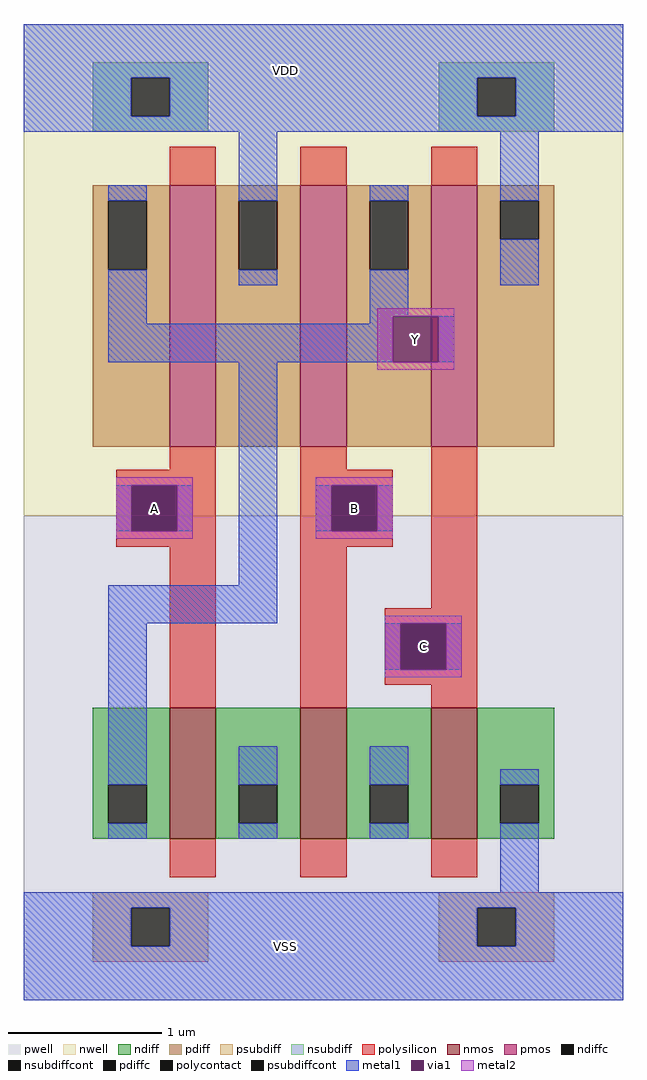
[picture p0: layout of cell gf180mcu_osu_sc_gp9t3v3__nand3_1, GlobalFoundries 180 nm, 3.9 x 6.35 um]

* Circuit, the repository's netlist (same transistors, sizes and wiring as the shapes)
** sch_path: /foss/designs/work/9tnand3/gf180mcu_osu_sc_gp9t3v3__nand3_1.sch
.subckt gf180mcu_osu_sc_gp9t3v3__nand3_1 A B Y C VDD VSS
*.PININFO A:I B:I Y:O C:I VDD:B VSS:B
X1 Y A VDD VDD pfet_03v3 w=1.7u l=0.3u m=1
X0 Y B VDD VDD pfet_03v3 w=1.7u l=0.3u m=1
X2 Y A net1 VSS nfet_03v3 w=0.85u l=0.3u m=1
X3 net1 B net2 VSS nfet_03v3 w=0.85u l=0.3u m=1
X4 net2 C VSS VSS nfet_03v3 w=0.85u l=0.3u m=1
X5 Y C VDD VDD pfet_03v3 w=1.7u l=0.3u m=1
.ends

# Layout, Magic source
magic
tech gf180mcuD
<< nwell >>
rect 103 63 181 127
<< pwell >>
rect 103 0 181 63
<< nmos >>
rect 122 21 128 38
rect 139 21 145 38
rect 156 21 162 38
<< pmos >>
rect 122 72 128 106
rect 139 72 145 106
rect 156 72 162 106
<< ndiff >>
rect 112 28 122 38
rect 112 23 114 28
rect 119 23 122 28
rect 112 21 122 23
rect 128 28 139 38
rect 128 23 131 28
rect 136 23 139 28
rect 128 21 139 23
rect 145 28 156 38
rect 145 23 148 28
rect 153 23 156 28
rect 145 21 156 23
rect 162 28 172 38
rect 162 23 165 28
rect 170 23 172 28
rect 162 21 172 23
<< pdiff >>
rect 112 104 122 106
rect 112 95 114 104
rect 119 95 122 104
rect 112 72 122 95
rect 128 104 139 106
rect 128 95 131 104
rect 136 95 139 104
rect 128 72 139 95
rect 145 104 156 106
rect 145 95 148 104
rect 153 95 156 104
rect 145 72 156 95
rect 162 104 172 106
rect 162 99 165 104
rect 170 99 172 104
rect 162 72 172 99
<< ndiffc >>
rect 114 23 119 28
rect 131 23 136 28
rect 148 23 153 28
rect 165 23 170 28
<< pdiffc >>
rect 114 95 119 104
rect 131 95 136 104
rect 148 95 153 104
rect 165 99 170 104
<< psubdiff >>
rect 112 12 127 14
rect 112 7 117 12
rect 122 7 127 12
rect 112 5 127 7
rect 157 12 172 14
rect 157 7 162 12
rect 167 7 172 12
rect 157 5 172 7
<< nsubdiff >>
rect 112 120 127 122
rect 112 115 117 120
rect 122 115 127 120
rect 112 113 127 115
rect 157 120 172 122
rect 157 115 162 120
rect 167 115 172 120
rect 157 113 172 115
<< psubdiffcont >>
rect 117 7 122 12
rect 162 7 167 12
<< nsubdiffcont >>
rect 117 115 122 120
rect 162 115 167 120
<< polysilicon >>
rect 122 106 128 111
rect 139 106 145 111
rect 156 106 162 111
rect 122 69 128 72
rect 115 67 128 69
rect 115 61 117 67
rect 123 61 128 67
rect 115 59 128 61
rect 122 38 128 59
rect 139 69 145 72
rect 139 67 151 69
rect 139 61 143 67
rect 149 61 151 67
rect 139 59 151 61
rect 139 38 145 59
rect 156 51 162 72
rect 150 49 162 51
rect 150 43 152 49
rect 158 43 162 49
rect 150 41 162 43
rect 156 38 162 41
rect 122 16 128 21
rect 139 16 145 21
rect 156 16 162 21
<< polycontact >>
rect 117 61 123 67
rect 143 61 149 67
rect 152 43 158 49
<< metal1 >>
rect 103 120 181 127
rect 103 115 117 120
rect 122 115 162 120
rect 167 115 181 120
rect 103 113 181 115
rect 114 104 119 106
rect 114 88 119 95
rect 131 104 136 113
rect 131 93 136 95
rect 148 104 153 106
rect 148 89 153 95
rect 165 104 170 113
rect 165 93 170 99
rect 148 88 151 89
rect 114 83 151 88
rect 157 83 159 89
rect 115 61 117 67
rect 123 61 125 67
rect 131 54 136 83
rect 141 61 143 67
rect 149 61 151 67
rect 114 49 136 54
rect 114 28 119 49
rect 150 43 152 49
rect 158 43 160 49
rect 114 21 119 23
rect 131 28 136 33
rect 131 21 136 23
rect 148 28 153 33
rect 148 21 153 23
rect 165 28 170 30
rect 165 14 170 23
rect 103 12 181 14
rect 103 7 117 12
rect 122 7 162 12
rect 167 7 181 12
rect 103 0 181 7
<< via1 >>
rect 151 83 157 89
rect 117 61 123 67
rect 143 61 149 67
rect 152 43 158 49
<< metal2 >>
rect 149 89 159 90
rect 149 83 151 89
rect 157 83 159 89
rect 149 82 159 83
rect 115 67 125 68
rect 115 61 117 67
rect 123 61 125 67
rect 115 60 125 61
rect 141 67 151 68
rect 141 61 143 67
rect 149 61 151 67
rect 141 60 151 61
rect 150 49 160 50
rect 150 43 152 49
rect 158 43 160 49
rect 150 42 160 43
<< labels >>
flabel metal2 115 60 125 68 0 FreeSans 48 0 0 0 A
port 1 nsew
flabel metal2 141 60 151 68 0 FreeSans 48 0 0 0 B
port 2 nsew
flabel metal2 150 42 160 50 0 FreeSans 48 0 0 0 C
port 4 nsew
flabel metal1 129 117 145 125 0 FreeSans 48 0 0 0 VDD
port 5 nsew
flabel metal1 129 3 145 11 0 FreeSans 48 0 0 0 VSS
port 6 nsew
flabel metal2 149 82 159 90 0 FreeSans 48 0 0 0 Y
port 3 nsew
<< properties >>
string FIXED_BBOX 103 0 181 127
<< end >>
